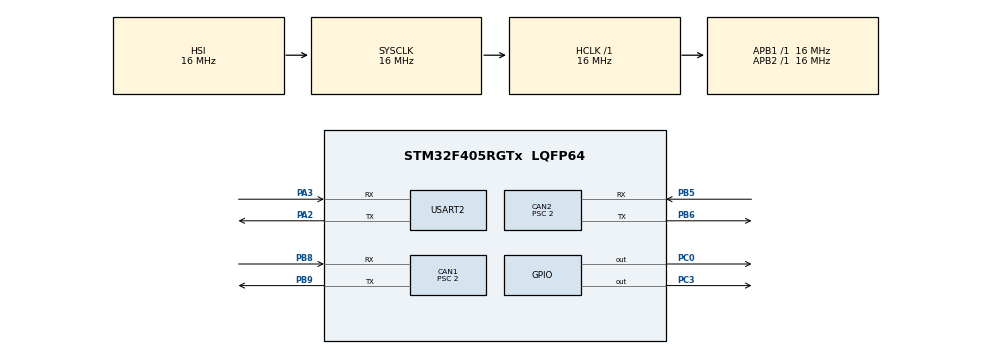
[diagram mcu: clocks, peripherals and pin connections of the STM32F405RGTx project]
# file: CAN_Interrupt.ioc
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CAN1.BS1=CAN_BS1_13TQ
CAN1.BS2=CAN_BS2_2TQ
CAN1.CalculateBaudRate=500000
CAN1.CalculateTimeBit=2000
CAN1.CalculateTimeQuantum=125.0
CAN1.Mode=CAN_MODE_NORMAL
CAN1.Prescaler=2
CAN2.BS1=CAN_BS1_13TQ
CAN2.BS2=CAN_BS2_2TQ
CAN2.CalculateBaudRate=500000
CAN2.CalculateTimeBit=2000
CAN2.CalculateTimeQuantum=125.0
CAN2.Prescaler=2
Mcu.Family=STM32F4
Mcu.Name=STM32F405RGTx
Mcu.Package=LQFP64
NVIC.CAN1_RX0_IRQn=true\:0\:0\:false\:false\:true\:true\:true\:true
NVIC.CAN2_RX0_IRQn=true\:0\:0\:false\:false\:true\:true\:true\:true
NVIC.PriorityGroup=NVIC_PRIORITYGROUP_4
NVIC.USART2_IRQn=true\:0\:0\:false\:false\:true\:true\:true\:true
PA2.Mode=Asynchronous
PA2.Signal=USART2_TX
PA3.Mode=Asynchronous
PA3.Signal=USART2_RX
PB5.Mode=CAN_Activate
PB5.Signal=CAN2_RX
PB6.Mode=CAN_Activate
PB6.Signal=CAN2_TX
PB8.Mode=CAN_Activate
PB8.Signal=CAN1_RX
PB9.Mode=CAN_Activate
PB9.Signal=CAN1_TX
PC0.Signal=GPIO_Output
PC3.Signal=GPIO_Output
ProjectManager.HeapSize=0x200
ProjectManager.StackSize=0x400
ProjectManager.TargetToolchain=STM32CubeIDE
RCC.AHBFreq_Value=16000000
RCC.APB1Freq_Value=16000000
RCC.APB2Freq_Value=16000000
RCC.CortexFreq_Value=16000000
RCC.HSE_VALUE=25000000
RCC.HSI_VALUE=16000000
RCC.LSE_VALUE=32768
RCC.SYSCLKFreq_VALUE=16000000
RCC.VCOOutputFreq_Value=192000000
USART2.VirtualMode=VM_ASYNC
board=custom

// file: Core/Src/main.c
/* USER CODE BEGIN Header */
/**
  ******************************************************************************
  * @file           : main.c
  * @brief          : Main program body
  ******************************************************************************
  * @attention
  *
  * Copyright (c) 2026 STMicroelectronics.
  * All rights reserved.
  *
  * This software is licensed under terms that can be found in the LICENSE file
  * in the root directory of this software component.
  * If no LICENSE file comes with this software, it is provided AS-IS.
  *
  ******************************************************************************
  */
/* USER CODE END Header */
#include "main.h"

#include "stdio.h"
#include "string.h"

CAN_HandleTypeDef hcan1;
CAN_HandleTypeDef hcan2;

UART_HandleTypeDef huart2;

/* USER CODE BEGIN PV */
CAN_TxHeaderTypeDef TxHeader;
CAN_RxHeaderTypeDef RxHeader;

uint8_t TxData[8];
uint8_t RxData[8];

uint32_t TxMailbox;

char uartMessage[120];
/* USER CODE END PV */

void SystemClock_Config(void);
static void MX_GPIO_Init(void);
static void MX_CAN1_Init(void);
static void MX_CAN2_Init(void);
static void MX_USART2_UART_Init(void);

int main(void)
{

  /* MCU Configuration--------------------------------------------------------*/

  /* Reset of all peripherals, Initializes the Flash interface and the Systick. */
  HAL_Init();

  /* Configure the system clock */
  SystemClock_Config();

  /* Initialize all configured peripherals */
  MX_GPIO_Init();
  MX_CAN1_Init();
  MX_CAN2_Init();
  MX_USART2_UART_Init();
  /* USER CODE BEGIN 2 */

  CAN_FilterTypeDef CAN1_Filter;

  CAN1_Filter.FilterBank = 0;
  CAN1_Filter.FilterMode = CAN_FILTERMODE_IDMASK;
  CAN1_Filter.FilterScale = CAN_FILTERSCALE_32BIT;

  CAN1_Filter.FilterIdHigh = 0x0000;
  CAN1_Filter.FilterIdLow = 0x0000;

  CAN1_Filter.FilterMaskIdHigh = 0x0000;
  CAN1_Filter.FilterMaskIdLow = 0x0000;

  CAN1_Filter.FilterFIFOAssignment = CAN_RX_FIFO0;
  CAN1_Filter.FilterActivation = ENABLE;

  /* CAN2 starts using filter bank 14 */
  CAN1_Filter.SlaveStartFilterBank = 14;

  if (HAL_CAN_ConfigFilter(&hcan1, &CAN1_Filter) != HAL_OK)
  {
      Error_Handler();
  }

  CAN_FilterTypeDef CAN2_Filter;

  CAN2_Filter.FilterBank = 14;
  CAN2_Filter.FilterMode = CAN_FILTERMODE_IDMASK;
  CAN2_Filter.FilterScale = CAN_FILTERSCALE_32BIT;

  CAN2_Filter.FilterIdHigh = 0x0000;
  CAN2_Filter.FilterIdLow = 0x0000;

  CAN2_Filter.FilterMaskIdHigh = 0x0000;
  CAN2_Filter.FilterMaskIdLow = 0x0000;

  CAN2_Filter.FilterFIFOAssignment = CAN_RX_FIFO0;
  CAN2_Filter.FilterActivation = ENABLE;

  CAN2_Filter.SlaveStartFilterBank = 14;

  if (HAL_CAN_ConfigFilter(&hcan2, &CAN2_Filter) != HAL_OK)
  {
      Error_Handler();
  }

  if (HAL_CAN_Start(&hcan1) != HAL_OK)
  {
      Error_Handler();
  }

  if (HAL_CAN_Start(&hcan2) != HAL_OK)
  {
      Error_Handler();
  }

  if (HAL_CAN_ActivateNotification(&hcan1,
                                   CAN_IT_RX_FIFO0_MSG_PENDING) != HAL_OK)
  {
      Error_Handler();
  }

  if (HAL_CAN_ActivateNotification(&hcan2,
                                   CAN_IT_RX_FIFO0_MSG_PENDING) != HAL_OK)
  {
      Error_Handler();
  }

  /* UART startup message */
  HAL_UART_Transmit(&huart2,
                    (uint8_t *)"CAN Communication System\r\n",
                    strlen("CAN Communication System\r\n"),
                    HAL_MAX_DELAY);

  HAL_UART_Transmit(&huart2,
                    (uint8_t *)"CAN1 TX -> CAN2 RX Interrupt\r\n",
                    strlen("CAN1 TX -> CAN2 RX Interrupt\r\n"),
                    HAL_MAX_DELAY);

  /* CAN transmission settings */
  TxHeader.StdId = 0x100;
  TxHeader.ExtId = 0x00;
  TxHeader.IDE = CAN_ID_STD;
  TxHeader.RTR = CAN_RTR_DATA;
  TxHeader.DLC = 8;
  TxHeader.TransmitGlobalTime = DISABLE;

  TxData[0] = 0x11;
  TxData[1] = 0x22;
  TxData[2] = 0x33;
  TxData[3] = 0x44;
  TxData[4] = 0x55;
  TxData[5] = 0x66;
  TxData[6] = 0x77;
  TxData[7] = 0x88;

  /* USER CODE END 2 */

  /* Infinite loop */
  /* USER CODE BEGIN WHILE */
  while (1)
  {
      if (HAL_CAN_GetTxMailboxesFreeLevel(&hcan1) > 0)
      {
          if (HAL_CAN_AddTxMessage(&hcan1,
                                   &TxHeader,
                                   TxData,
                                   &TxMailbox) != HAL_OK)
          {
              Error_Handler();
          }
      }

      HAL_Delay(1000);
  }
  /* USER CODE END 3 */
}

void SystemClock_Config(void)
{
  RCC_OscInitTypeDef RCC_OscInitStruct = {0};
  RCC_ClkInitTypeDef RCC_ClkInitStruct = {0};

  /** Configure the main internal regulator output voltage
  */
  __HAL_RCC_PWR_CLK_ENABLE();
  __HAL_PWR_VOLTAGESCALING_CONFIG(PWR_REGULATOR_VOLTAGE_SCALE1);

  /** Initializes the RCC Oscillators according to the specified parameters
  * in the RCC_OscInitTypeDef structure.
  */
  RCC_OscInitStruct.OscillatorType = RCC_OSCILLATORTYPE_HSI;
  RCC_OscInitStruct.HSIState = RCC_HSI_ON;
  RCC_OscInitStruct.HSICalibrationValue = RCC_HSICALIBRATION_DEFAULT;
  RCC_OscInitStruct.PLL.PLLState = RCC_PLL_NONE;
  if (HAL_RCC_OscConfig(&RCC_OscInitStruct) != HAL_OK)
  {
    Error_Handler();
  }

  /** Initializes the CPU, AHB and APB buses clocks
  */
  RCC_ClkInitStruct.ClockType = RCC_CLOCKTYPE_HCLK|RCC_CLOCKTYPE_SYSCLK
                              |RCC_CLOCKTYPE_PCLK1|RCC_CLOCKTYPE_PCLK2;
  RCC_ClkInitStruct.SYSCLKSource = RCC_SYSCLKSOURCE_HSI;
  RCC_ClkInitStruct.AHBCLKDivider = RCC_SYSCLK_DIV1;
  RCC_ClkInitStruct.APB1CLKDivider = RCC_HCLK_DIV1;
  RCC_ClkInitStruct.APB2CLKDivider = RCC_HCLK_DIV1;

  if (HAL_RCC_ClockConfig(&RCC_ClkInitStruct, FLASH_LATENCY_0) != HAL_OK)
  {
    Error_Handler();
  }
}

static void MX_CAN1_Init(void)
{

  hcan1.Instance = CAN1;
  hcan1.Init.Prescaler = 2;
  hcan1.Init.Mode = CAN_MODE_NORMAL;
  hcan1.Init.SyncJumpWidth = CAN_SJW_1TQ;
  hcan1.Init.TimeSeg1 = CAN_BS1_13TQ;
  hcan1.Init.TimeSeg2 = CAN_BS2_2TQ;
  hcan1.Init.TimeTriggeredMode = DISABLE;
  hcan1.Init.AutoBusOff = DISABLE;
  hcan1.Init.AutoWakeUp = DISABLE;
  hcan1.Init.AutoRetransmission = DISABLE;
  hcan1.Init.ReceiveFifoLocked = DISABLE;
  hcan1.Init.TransmitFifoPriority = DISABLE;
  if (HAL_CAN_Init(&hcan1) != HAL_OK)
  {
    Error_Handler();
  }

}

static void MX_CAN2_Init(void)
{

  hcan2.Instance = CAN2;
  hcan2.Init.Prescaler = 2;
  hcan2.Init.Mode = CAN_MODE_NORMAL;
  hcan2.Init.SyncJumpWidth = CAN_SJW_1TQ;
  hcan2.Init.TimeSeg1 = CAN_BS1_13TQ;
  hcan2.Init.TimeSeg2 = CAN_BS2_2TQ;
  hcan2.Init.TimeTriggeredMode = DISABLE;
  hcan2.Init.AutoBusOff = DISABLE;
  hcan2.Init.AutoWakeUp = DISABLE;
  hcan2.Init.AutoRetransmission = DISABLE;
  hcan2.Init.ReceiveFifoLocked = DISABLE;
  hcan2.Init.TransmitFifoPriority = DISABLE;
  if (HAL_CAN_Init(&hcan2) != HAL_OK)
  {
    Error_Handler();
  }

}

static void MX_USART2_UART_Init(void)
{

  huart2.Instance = USART2;
  huart2.Init.BaudRate = 115200;
  huart2.Init.WordLength = UART_WORDLENGTH_8B;
  huart2.Init.StopBits = UART_STOPBITS_1;
  huart2.Init.Parity = UART_PARITY_NONE;
  huart2.Init.Mode = UART_MODE_TX_RX;
  huart2.Init.HwFlowCtl = UART_HWCONTROL_NONE;
  huart2.Init.OverSampling = UART_OVERSAMPLING_16;
  if (HAL_UART_Init(&huart2) != HAL_OK)
  {
    Error_Handler();
  }

}

static void MX_GPIO_Init(void)
{
  GPIO_InitTypeDef GPIO_InitStruct = {0};

  /* GPIO Ports Clock Enable */
  __HAL_RCC_GPIOC_CLK_ENABLE();
  __HAL_RCC_GPIOA_CLK_ENABLE();
  __HAL_RCC_GPIOB_CLK_ENABLE();

  /*Configure GPIO pin Output Level */
  HAL_GPIO_WritePin(GPIOC, GPIO_PIN_0|GPIO_PIN_3, GPIO_PIN_RESET);

  /*Configure GPIO pins : PC0 PC3 */
  GPIO_InitStruct.Pin = GPIO_PIN_0|GPIO_PIN_3;
  GPIO_InitStruct.Mode = GPIO_MODE_OUTPUT_PP;
  GPIO_InitStruct.Pull = GPIO_NOPULL;
  GPIO_InitStruct.Speed = GPIO_SPEED_FREQ_LOW;
  HAL_GPIO_Init(GPIOC, &GPIO_InitStruct);

}

/* USER CODE BEGIN 4 */

void HAL_CAN_RxFifo0MsgPendingCallback(CAN_HandleTypeDef *hcan)
{
    if (hcan->Instance == CAN2)
    {
        if (HAL_CAN_GetRxMessage(hcan,
                                 CAN_RX_FIFO0,
                                 &RxHeader,
                                 RxData) == HAL_OK)
        {
            sprintf(uartMessage,
                    "\r\nCAN RX\r\n"
                    "ID   : 0x%03lX\r\n"
                    "DLC  : %lu\r\n"
                    "DATA : ",
                    RxHeader.StdId,
                    RxHeader.DLC);

            HAL_UART_Transmit(&huart2,
                              (uint8_t *)uartMessage,
                              strlen(uartMessage),
                              HAL_MAX_DELAY);

            for (uint8_t i = 0; i < RxHeader.DLC; i++)
            {
                sprintf(uartMessage,
                        "%02X ",
                        RxData[i]);

                HAL_UART_Transmit(&huart2,
                                  (uint8_t *)uartMessage,
                                  strlen(uartMessage),
                                  HAL_MAX_DELAY);
            }

            HAL_UART_Transmit(&huart2,
                              (uint8_t *)"\r\n",
                              2,
                              HAL_MAX_DELAY);
        }
    }
}
/* USER CODE END 4 */

void Error_Handler(void)
{
  __disable_irq();
  while (1)
  {
  }
}
